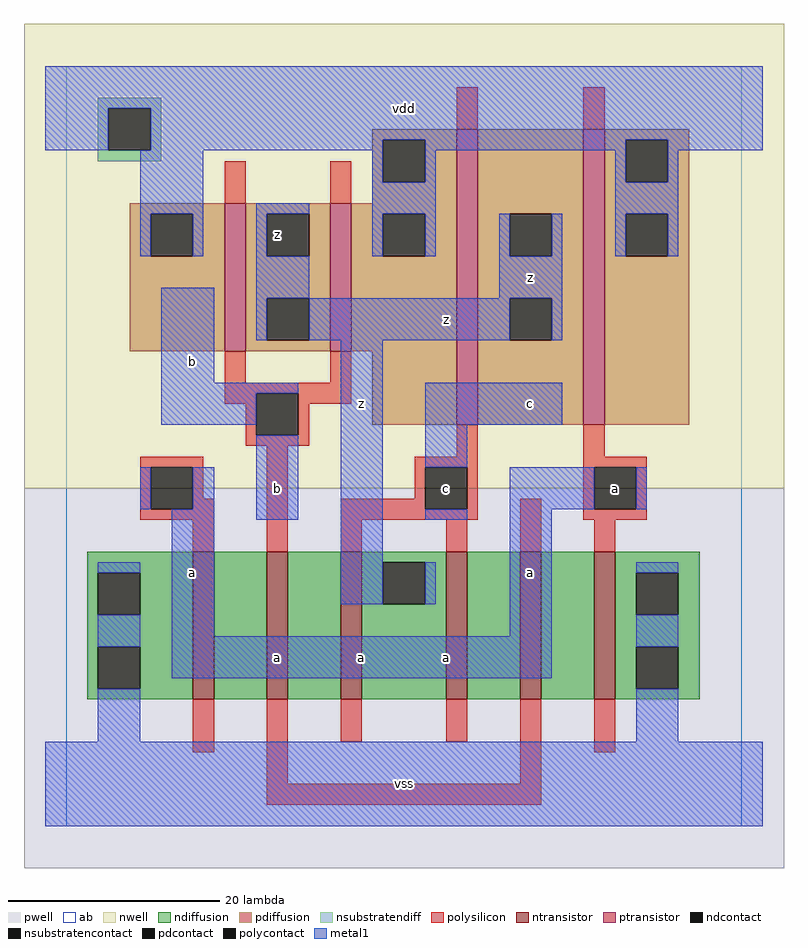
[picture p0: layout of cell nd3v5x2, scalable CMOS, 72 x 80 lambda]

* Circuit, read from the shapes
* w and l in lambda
.subckt nd3v5x2 a b c vdd vss z
M1 n1 a vss VSUBS nfet w=14 l=2
M2 n2 b n1 VSUBS nfet w=14 l=2
M3 z c n2 VSUBS nfet w=14 l=2
M4 n3 c z VSUBS nfet w=14 l=2
M5 n4 b n3 VSUBS nfet w=14 l=2
M6 vss a n4 VSUBS nfet w=14 l=2
M7 z b vdd vdd pfet w=14 l=2 m=2
M8 z c vdd vdd pfet w=28 l=2
M9 vdd a z vdd pfet w=28 l=2
.ends

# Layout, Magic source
magic
tech scmos
<< ab >>
rect 0 0 64 72
<< pwell >>
rect -4 -4 68 32
<< nwell >>
rect -4 32 68 76
<< polysilicon >>
rect 37 66 39 70
rect 49 66 51 70
rect 15 59 17 63
rect 25 59 27 63
rect 15 42 17 45
rect 25 42 27 45
rect 15 41 27 42
rect 15 40 18 41
rect 17 37 18 40
rect 22 40 27 41
rect 22 37 23 40
rect 17 36 23 37
rect 7 34 13 35
rect 7 30 8 34
rect 12 31 13 34
rect 12 30 14 31
rect 7 29 14 30
rect 12 26 14 29
rect 19 26 21 36
rect 37 35 39 38
rect 33 34 39 35
rect 33 31 34 34
rect 26 30 34 31
rect 38 30 39 34
rect 49 35 51 38
rect 49 34 55 35
rect 26 29 39 30
rect 26 26 28 29
rect 36 26 38 29
rect 43 26 45 31
rect 49 30 50 34
rect 54 30 55 34
rect 49 29 55 30
rect 50 26 52 29
rect 12 7 14 12
rect 19 4 21 12
rect 26 8 28 12
rect 36 8 38 12
rect 43 4 45 12
rect 50 7 52 12
rect 19 2 45 4
<< ndiffusion >>
rect 2 24 12 26
rect 2 20 3 24
rect 7 20 12 24
rect 2 17 12 20
rect 2 13 3 17
rect 7 13 12 17
rect 2 12 12 13
rect 14 12 19 26
rect 21 12 26 26
rect 28 25 36 26
rect 28 21 30 25
rect 34 21 36 25
rect 28 12 36 21
rect 38 12 43 26
rect 45 12 50 26
rect 52 24 60 26
rect 52 20 54 24
rect 58 20 60 24
rect 52 17 60 20
rect 52 13 54 17
rect 58 13 60 17
rect 52 12 60 13
<< pdiffusion >>
rect 29 65 37 66
rect 29 61 30 65
rect 34 61 37 65
rect 29 59 37 61
rect 6 58 15 59
rect 6 54 8 58
rect 12 54 15 58
rect 6 45 15 54
rect 17 58 25 59
rect 17 54 19 58
rect 23 54 25 58
rect 17 50 25 54
rect 17 46 19 50
rect 23 46 25 50
rect 17 45 25 46
rect 27 58 37 59
rect 27 54 30 58
rect 34 54 37 58
rect 27 45 37 54
rect 29 38 37 45
rect 39 58 49 66
rect 39 54 42 58
rect 46 54 49 58
rect 39 50 49 54
rect 39 46 42 50
rect 46 46 49 50
rect 39 38 49 46
rect 51 65 59 66
rect 51 61 53 65
rect 57 61 59 65
rect 51 58 59 61
rect 51 54 53 58
rect 57 54 59 58
rect 51 38 59 54
<< metal1 >>
rect -2 68 66 72
rect -2 64 4 68
rect 8 65 66 68
rect 8 64 30 65
rect 7 58 13 64
rect 29 61 30 64
rect 34 64 53 65
rect 34 61 35 64
rect 7 54 8 58
rect 12 54 13 58
rect 18 58 23 59
rect 18 54 19 58
rect 29 58 35 61
rect 52 61 53 64
rect 57 64 66 65
rect 57 61 58 64
rect 52 58 58 61
rect 29 54 30 58
rect 34 54 35 58
rect 41 54 42 58
rect 46 54 47 58
rect 52 54 53 58
rect 57 54 58 58
rect 9 42 14 51
rect 18 50 23 54
rect 41 50 47 54
rect 18 46 19 50
rect 23 46 42 50
rect 46 46 47 50
rect 9 41 22 42
rect 9 38 18 41
rect 7 30 8 34
rect 12 30 14 34
rect 3 24 7 25
rect 3 17 7 20
rect 10 18 14 30
rect 18 29 22 37
rect 26 21 30 46
rect 34 38 47 42
rect 34 34 38 38
rect 34 29 38 30
rect 42 30 50 34
rect 54 30 55 34
rect 34 21 35 25
rect 42 18 46 30
rect 10 14 46 18
rect 54 24 58 25
rect 54 17 58 20
rect 3 8 7 13
rect 54 8 58 13
rect -2 0 66 8
<< ntransistor >>
rect 12 12 14 26
rect 19 12 21 26
rect 26 12 28 26
rect 36 12 38 26
rect 43 12 45 26
rect 50 12 52 26
<< ptransistor >>
rect 15 45 17 59
rect 25 45 27 59
rect 37 38 39 66
rect 49 38 51 66
<< polycontact >>
rect 18 37 22 41
rect 8 30 12 34
rect 34 30 38 34
rect 50 30 54 34
<< ndcontact >>
rect 3 20 7 24
rect 3 13 7 17
rect 30 21 34 25
rect 54 20 58 24
rect 54 13 58 17
<< pdcontact >>
rect 30 61 34 65
rect 8 54 12 58
rect 19 54 23 58
rect 19 46 23 50
rect 30 54 34 58
rect 42 54 46 58
rect 42 46 46 50
rect 53 61 57 65
rect 53 54 57 58
<< nsubstratencontact >>
rect 4 64 8 68
<< nsubstratendiff >>
rect 3 68 9 69
rect 3 64 4 68
rect 8 64 9 68
rect 3 63 9 64
<< labels >>
rlabel metal1 12 24 12 24 6 a
rlabel metal1 12 44 12 44 6 b
rlabel metal1 20 16 20 16 6 a
rlabel metal1 28 16 28 16 6 a
rlabel metal1 20 32 20 32 6 b
rlabel metal1 28 40 28 40 6 z
rlabel pdcontact 20 56 20 56 6 z
rlabel metal1 32 4 32 4 6 vss
rlabel metal1 36 16 36 16 6 a
rlabel polycontact 36 32 36 32 6 c
rlabel metal1 44 24 44 24 6 a
rlabel metal1 44 40 44 40 6 c
rlabel metal1 36 48 36 48 6 z
rlabel metal1 44 52 44 52 6 z
rlabel metal1 32 68 32 68 6 vdd
rlabel polycontact 52 32 52 32 6 a
<< end >>
